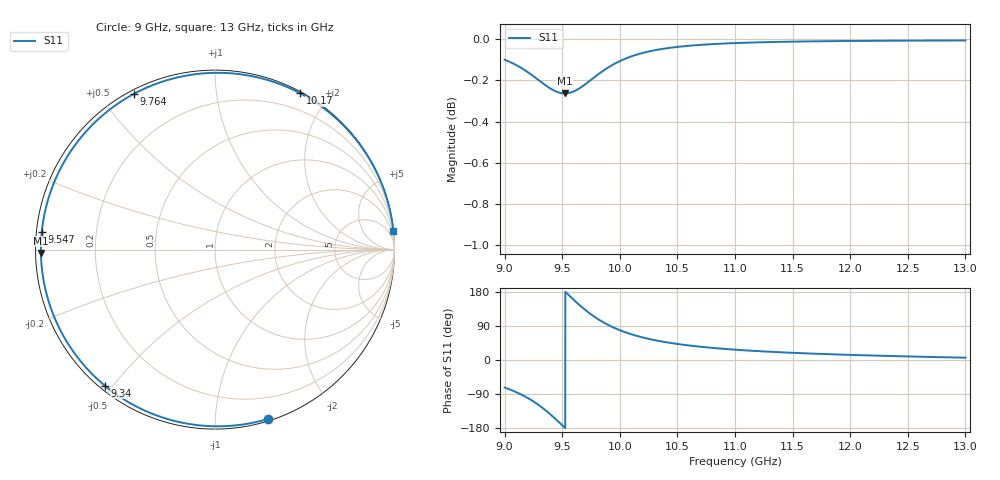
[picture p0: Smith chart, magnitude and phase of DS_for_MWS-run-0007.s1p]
! TOUCHSTONE file generated by CST DESIGN STUDIO
! Date and time: Tue Feb  4 18:02:07 2025
! Project name: C:\Work\MatlabApps\UnitCellOptimizationMatlab\CST\unitcell.cst
! Tree item: Tasks\Sweep1\SPara1\S-Parameters
! Header version: 2024
! Port assignment regex: !\s*Touchstone port\s*([0-9]+)\s*=\s*(CST MWS port|CST DES external port|CST DES block port)\s*(.+)\s* \(\"(.*)\"\)(\s*mode\s*([0-9]+))?.*
! Touchstone port assignment:
! Touchstone port 1 = CST DES external port 1 ("")
# GHz S MA R 50
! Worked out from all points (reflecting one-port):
!   4001 points, 9 GHz to 13 GHz, reference 50 ohm
!   lowest |S11| = -0.3 dB at 9.523 GHz (marker M1), VSWR 66.00, Z = 0.758 - j0.467 ohm
!   phase of S11 starts at -73 deg and turns -281 deg over the sweep
!   S11 on the Smith chart (normalised r, x): 9 GHz: 0.02, -1.36; 9.34 GHz: 0.02, -0.48; 9.547 GHz: 0.02, +0.05; 9.764 GHz: 0.02, +0.61; 10.17 GHz: 0.02, +1.68; 13 GHz: 0, +19
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9  0.9887 -72.7
9.093  0.9859 -83.8
9.199  0.9818 -99.9
9.273  0.9785 -114.0
9.34  0.9753 -129.0
9.384  0.9734 -139.9
9.429  0.9717 -152.0
9.465  0.9708 -162.1
9.5  0.9702 -172.2
9.523  0.9701 -178.9
9.547  0.9703 174.0
9.601  0.9713 158.5
9.661  0.9734 142.1
9.712  0.9757 129.3
9.764  0.9782 117.4
9.814  0.9806 107.2
9.868  0.9831 97.5
10  0.9879 78.7
10.084  0.9901 69.5
10.174  0.992 61.5
10.323  0.9941 51.2
10.5  0.9957 42.3
10.722  0.997 34.3
11  0.9979 27.2
11.5  0.9987 18.9
12  0.9991 13.5
12.5  0.9992 9.4
13  0.9993 6.1
